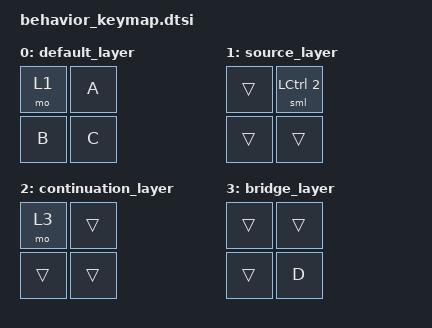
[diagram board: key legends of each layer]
#include <dt-bindings/zmk/keys.h>
#include <behaviors.dtsi>
#include <dt-bindings/zmk/kscan_mock.h>

/ {
    behaviors {
        sml: sticky_mod_layer {
            compatible = "zmk,behavior-sticky-mod-layer";
            #binding-cells = <2>;
            release-after-ms = <250>;
            quick-release;
            ignore-modifiers;
            ignored-key-positions = <0>;
            bindings = <&kp>;
        };
    };

    keymap {
        compatible = "zmk,keymap";

        default_layer {
            bindings = <
                &mo 1     &kp A
                &kp B     &kp C
            >;
        };

        source_layer {
            bindings = <
                &trans        &sml LCTRL 2
                &trans        &trans
            >;
        };

        continuation_layer {
            bindings = <
                &mo 3         &trans
                &trans        &trans
            >;
        };

        bridge_layer {
            bindings = <
                &trans     &trans
                &trans     &kp D
            >;
        };
    };
};
